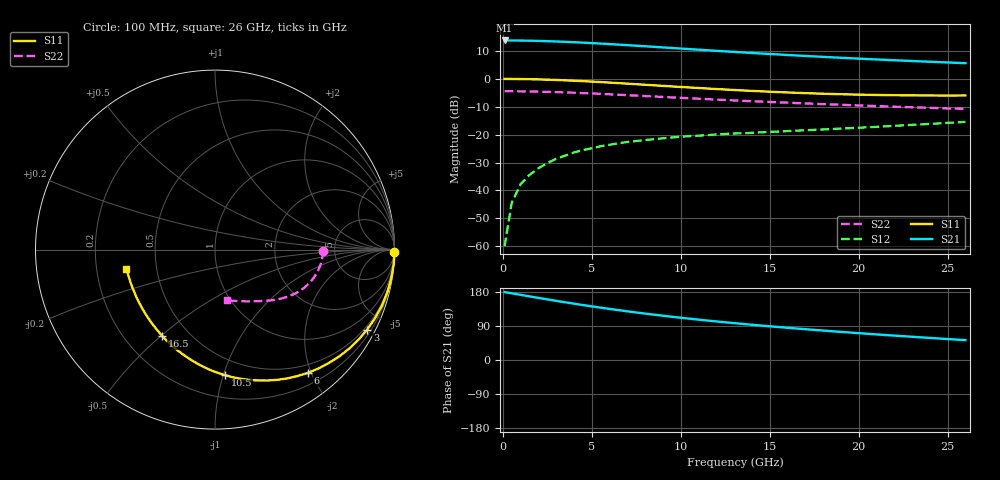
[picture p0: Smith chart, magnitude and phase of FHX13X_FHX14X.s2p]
! fhx13x.s2p  12/96
! FHX13X/14X
! @2V-10mA
! .1GHz 26GHz 53
! S-parameters and Noise parameters include bonding wires
! gate  : total 2 wires, 1 per bond pad, 0.3mm long each wire.
! drain : total 2 wires, 1 per bond pad, 0.3mm long each wire.
! source: total 4 wires, 1 per side, 0.3mm long each wire.
! wire  : 20u dia., gold.
# GHZ S MA R 50
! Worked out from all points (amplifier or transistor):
!   53 points, 100 MHz to 26 GHz, reference 50 ohm
!   highest |S21| = 13.8 dB at 100 MHz (marker M1)
!   |S21| within 3 dB of that: start of sweep to 10.23 GHz
!   unconditionally stable (mu >= 1): 17.65 GHz to end of sweep
!   at 4 GHz: K = 0.27, MSG = 19.8 dB, |S12| = -26.4 dB
!   at 13 GHz: K = 0.81, MSG = 14.6 dB, |S12| = -19.6 dB
!   at 26 GHz: K = 1.06, MAG = 9.0 dB, |S12| = -15.4 dB
!   S11 on the Smith chart (normalised r, x): 100 MHz: open; 3 GHz: 0.37, -4.02; 6 GHz: 0.37, -1.95; 10.5 GHz: 0.37, -1.01; 16.5 GHz: 0.36, -0.50; 26 GHz: 0.33, -0.09
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0.1  1 -0.9  4.899 179.2  0.001 89.5  0.601 -0.5
0.5  0.999 -4.7  4.894 175.9  0.006 87.7  0.601 -2.3
1  0.995 -9.4  4.876 171.9  0.013 85.5  0.599 -4.6
1.5  0.989 -14.0  4.846 167.9  0.019 83.3  0.596 -6.9
2  0.981 -18.6  4.806 163.9  0.025 81.1  0.591 -9.2
3  0.958 -27.7  4.696 156.1  0.037 77.0  0.58 -13.5
4  0.929 -36.4  4.555 148.6  0.048 73.2  0.565 -17.7
4.5  0.913 -40.7  4.475 145.0  0.053 71.4  0.557 -19.6
5  0.895 -44.9  4.392 141.5  0.057 69.8  0.548 -21.5
6  0.86 -53.0  4.215 134.8  0.066 66.8  0.53 -25.0
7  0.823 -60.7  4.034 128.4  0.074 64.2  0.512 -28.3
7.5  0.804 -64.5  3.942 125.4  0.077 63.0  0.502 -29.8
9  0.751 -75.3  3.675 116.8  0.086 60.2  0.475 -34.0
10.5  0.702 -85.4  3.424 109.0  0.094 58.3  0.45 -37.8
12  0.659 -95.0  3.194 101.8  0.101 57.1  0.426 -41.3
13.5  0.621 -104.2  2.987 95.1  0.106 56.5  0.405 -44.7
15  0.59 -113.0  2.801 88.9  0.112 56.4  0.386 -47.9
16.5  0.564 -121.5  2.635 83.1  0.118 56.7  0.369 -51.2
17.5  0.549 -126.9  2.535 79.5  0.122 57.1  0.358 -53.4
20  0.523 -140.0  2.314 70.8  0.133 58.4  0.335 -59.4
22  0.511 -149.8  2.164 64.4  0.144 59.5  0.318 -64.7
26  0.505 -167.9  1.918 52.4  0.17 61.2  0.29 -77.1
